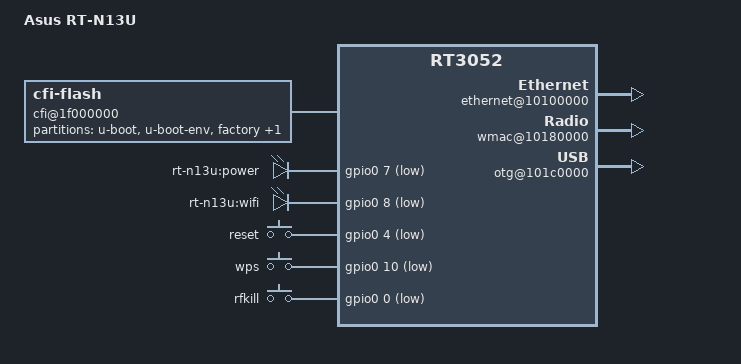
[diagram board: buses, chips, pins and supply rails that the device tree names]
/dts-v1/;

/include/ "rt3050.dtsi"

/ {
	compatible = "RT-N13U", "ralink,rt3052-soc";
	model = "Asus RT-N13U";

	palmbus@10000000 {
		sysc@0 {
			ralink,pinmux = "i2c", "spi", "uartlite", "jtag", "mdio", "sdram", "rgmii";
			ralink,uartmux = "gpio";
			ralink,wdtmux = <1>;
		};

		gpio0: gpio@600 {
			status = "okay";
		};
	};

	cfi@1f000000 {
		compatible = "cfi-flash";
		reg = <0x1f000000 0x800000>;

		bank-width = <2>;
		device-width = <2>;
		#address-cells = <1>;
		#size-cells = <1>;

		partition@0 {
			label = "u-boot";
			reg = <0x0 0x30000>;
			read-only;
		};

		partition@30000 {
			label = "u-boot-env";
			reg = <0x30000 0x10000>;
			read-only;
		};

		factory: partition@40000 {
			label = "factory";
			reg = <0x40000 0x10000>;
			read-only;
		};

		partition@50000 {
			label = "firmware";
			reg = <0x50000 0x7b0000>;
		};
	};

	gpio-leds {
		compatible = "gpio-leds";
		power {
			label = "rt-n13u:power";
			gpios = <&gpio0 7 1>;
		};
		wifi {
			label = "rt-n13u:wifi";
			gpios = <&gpio0 8 1>;
		};
	};

	gpio-keys-polled {
		compatible = "gpio-keys-polled";
		#address-cells = <1>;
		#size-cells = <0>;
		poll-interval = <10>;
		reset {
			label = "reset";
			gpios = <&gpio0 4 1>;
			linux,code = <0x198>;
		};
		wps {
			label = "wps";
			gpios = <&gpio0 10 1>;
			linux,code = <0x211>;
		};
		rfkill {
			label = "rfkill";
			gpios = <&gpio0 0 1>;
			linux,code = <0xf7>;
		};
	};

	ethernet@10100000 {
		status = "okay";
	};

	esw@10110000 {
		status = "okay";
		ralink,portmap = <0x2f>;
	};

	wmac@10180000 {
		status = "okay";
	};

	otg@101c0000 {
		status = "okay";
	};
};
